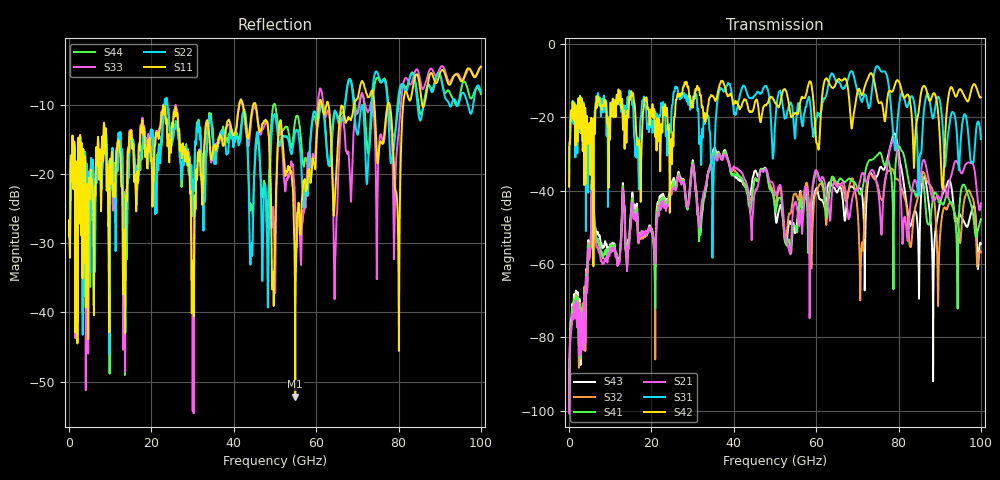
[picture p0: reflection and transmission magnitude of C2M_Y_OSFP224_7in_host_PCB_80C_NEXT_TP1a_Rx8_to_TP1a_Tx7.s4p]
# GHz S RI R 45
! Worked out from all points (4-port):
!   4000 points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, 25 MHz to 100 GHz, reference 45 ohm
!   strongest paths, dB at 25 MHz, 25.02 GHz, 50.02 GHz, 75.03 GHz, 100 GHz:
!     S42: -38.9, -28.8, -16.1, -15.6, -14.6
!     S31: -38.6, -16.7, -21.9, -6.2, -26.0
!     S21: -100.7, -40.3, -40.7, -39.9, -43.5
!     S41: -99.8, -38.6, -45.0, -30.1, -47.8
!     S32: -98.9, -39.2, -43.7, -38.9, -56.9
!     S43: -98.1, -37.6, -45.3, -35.5, -54.5
!   lowest |S11| = -52.2 dB at 54.92 GHz (marker M1), VSWR 1.00, Z = 45.2 + j0.136 ohm
!   |S11| at or under -10 dB: start of sweep to 41.29 GHz; 45.32 GHz to 60.75 GHz (15.43 GHz wide, 29.1 % of centre); 62.97 GHz to 69.22 GHz (6.253 GHz wide, 9.46 % of centre)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
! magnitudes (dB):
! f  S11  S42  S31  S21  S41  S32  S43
! 25 MHz  -28.9  -38.9  -38.6  -100.7  -99.8  -98.9  -98.1
! 5.85 GHz  -24.7  -24.6  -30.9  -36.8  -36.5  -36.5  -36.3
! 54.92 GHz  -52.2  -18.8  -25.4  -43.2  -49.6  -40.8  -51.3
! 79 GHz  -20.5  -11.6  -27.6  -25.5  -39.8  -35.7  -24.4
! 82.1 GHz  -8.4  -13.8  -17.2  -52.9  -35.1  -45.9  -44.5
! 90.67 GHz  -5.0  -39.5  -21.7  -40.4  -43.7  -46.2  -41.1
! 100 GHz  -4.5  -14.6  -26.0  -43.5  -47.8  -56.9  -54.5
